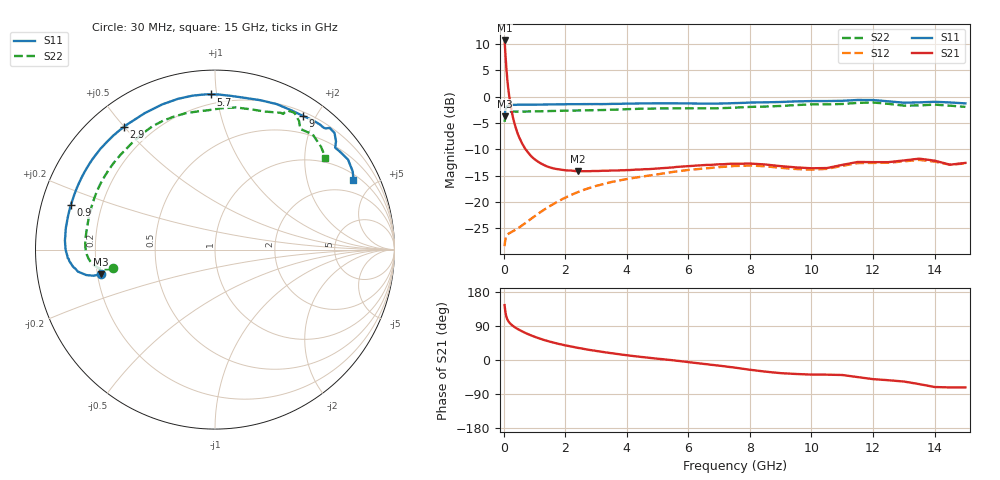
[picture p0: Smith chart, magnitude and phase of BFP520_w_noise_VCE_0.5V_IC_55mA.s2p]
! Infineon Technologies  Discrete & RF Semiconductors
! BFP520
! VCE =  0.5 V,  IC =  55 mA
! Common Emitter S-Parameters:  Oct 2015
# GHz  S  MA  R  50
!  f  S11  S21  S12  S22
! GHz  MAG  ANG  MAG  ANG  MAG  ANG  MAG  ANG
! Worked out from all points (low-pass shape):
!   109 points, 30 MHz to 15 GHz, reference 50 ohm
!   highest |S21| = 10.70 dB at 30 MHz (marker M1); lowest = -14.2 dB at 2.4 GHz (marker M2)
!   |S21| within 3 dB of the highest: start of sweep to 61.29 MHz
!   lowest |S11| = -3.7 dB at 30 MHz (marker M3), VSWR 4.71, Z = 10.7 - j5.14 ohm
!   |S11| at or under -10 dB: nowhere
!   |S22| runs from -4.8 to -1.1 dB; largest |S21 - S12| = 3.5
!   S11 on the Smith chart (normalised r, x): 30 MHz: 0.21, -0.10; 900 MHz: 0.09, +0.15; 2.9 GHz: 0.10, +0.50; 5.7 GHz: 0.14, +0.96; 9 GHz: 0.25, +1.83; 15 GHz: 1.24, +3.82
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0.03  0.6499 -167.7  3.427 144.9  0.038 15.8  0.5774 -169.5
0.04  0.6938 -167.9  3.066 136.7  0.0407 16.0  0.6114 -169.6
0.05  0.7306 -168.8  2.739 130.5  0.043 15.5  0.6388 -170.2
0.06  0.7547 -170.0  2.46 124.9  0.0446 14.9  0.6588 -171.1
0.08  0.7842 -172.1  2.005 116.7  0.0468 14.0  0.6841 -173.0
0.11  0.8085 -174.8  1.551 108.8  0.0484 13.1  0.7031 -175.4
0.15  0.8232 -177.5  1.181 102.6  0.0497 13.0  0.7146 -177.8
0.25  0.8348 178.2  0.75 93.3  0.0517 14.8  0.7225 178.6
0.4  0.838 173.8  0.499 84.4  0.0548 18.8  0.7236 174.8
0.9  0.8411 162.9  0.271 64.6  0.0695 28.7  0.7251 165.9
2.4  0.8499 135.2  0.196 32.2  0.1237 27.5  0.7402 143.2
2.6  0.8512 131.7  0.196 29.3  0.1302 25.9  0.7421 140.2
2.9  0.8511 126.7  0.197 25.3  0.139 23.3  0.745 135.8
5.1  0.8663 97.4  0.209 2.6  0.185 3.9  0.7739 111.0
5.7  0.8649 91.6  0.216 -2.6  0.1962 -1.6  0.7756 104.9
7.6  0.8712 71.9  0.231 -21.1  0.2201 -20.2  0.7901 86.3
9  0.8914 56.7  0.219 -34.7  0.2111 -34.1  0.8172 70.3
10.5  0.9099 48.2  0.21 -38.7  0.2063 -37.8  0.8462 63.3
12  0.9304 44.3  0.239 -50.5  0.2348 -50.0  0.8817 59.9
13  0.8778 40.3  0.248 -56.8  0.2432 -57.1  0.8237 54.8
14  0.895 34.1  0.247 -71.3  0.2417 -70.3  0.8416 49.7
15  0.8645 26.8  0.235 -72.2  0.2321 -72.6  0.8006 39.8
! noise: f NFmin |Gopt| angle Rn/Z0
0.45  3.45  0.22  -160  0.3
0.9  3.45  0.24  -152  0.32
1.9  3.61  0.32  -128  0.42
2.4  3.64  0.33  -125  0.4
3.5  3.7  0.31  -111  0.51
